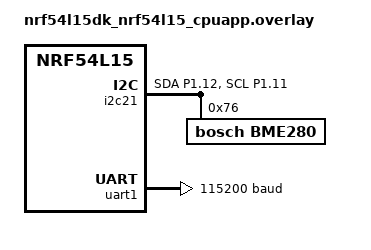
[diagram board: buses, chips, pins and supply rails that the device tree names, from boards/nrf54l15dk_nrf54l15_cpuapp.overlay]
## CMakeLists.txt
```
# nrf54_brain/CMakeLists.txt
cmake_minimum_required(VERSION 3.20.0)

find_package(Zephyr REQUIRED HINTS $ENV{ZEPHYR_BASE})
project(remote_id_brain)

# Dodanie folderów include
target_include_directories(app PRIVATE 
    ${CMAKE_CURRENT_SOURCE_DIR}/src 
    ${CMAKE_CURRENT_SOURCE_DIR}/../common/include
)

# Integracja Edge Impulse (ml_model) [5, 6]
# Pamiętaj o dodaniu wyeksportowanej biblioteki EI do projektu
add_subdirectory(ml_model)
target_link_libraries(app PUBLIC ei_model)

# Dodanie plików źródłowych
target_sources(app PRIVATE
    src/main.cpp
    src/data_aggregator.cpp
    src/ui_manager.cpp
)
```

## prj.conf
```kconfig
# nrf54_brain/prj.conf
CONFIG_CPLUSPLUS=y
CONFIG_STD_CPP17=y
CONFIG_NEWLIB_LIBC=y

# Komunikacja z nRF7002 przez UART
CONFIG_SERIAL=y
CONFIG_UART_ASYNC_API=y
CONFIG_UART_1_NRF_UARTE=y

# Sensory i I2C (BME280)
CONFIG_I2C=y
CONFIG_SENSOR=y
CONFIG_BME280=y

# AI i ML (Edge Impulse / TensorFlow Lite)
CONFIG_EDGE_IMPULSE=y
CONFIG_FPU=y

# Bluetooth 6.0 i Channel Sounding (do precyzyjnej odległości) [1, 2]
CONFIG_BT=y
CONFIG_BT_DEVICE_NAME="RemoteID_Brain"
CONFIG_BT_CHANNEL_SOUNDING=y

# UI i ADC (Joystick, TEMT6000)
CONFIG_ADC=y
CONFIG_SPI=y
```

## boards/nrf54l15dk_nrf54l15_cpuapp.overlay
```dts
&pinctrl {
    i2c21_default: i2c21_default {
        group1 {
            psels = <NRF_PSEL(TWIM_SDA, 1, 12)>,
                    <NRF_PSEL(TWIM_SCL, 1, 11)>; // P1.11 to dedykowany Clock Pin
        }
    };
};

&i2c21 {
    status = "okay";
    pinctrl-0 = <&i2c21_default>;
    pinctrl-names = "default";
    bme280@76 {
        compatible = "bosch,bme280";
        reg = <0x76>;
    };
};

&uart1 {
    status = "okay";
    current-speed = <115200>;
    pinctrl-0 = <&uart1_default>; // Skonfiguruj TX/RX na P1.04/P1.05
};
```

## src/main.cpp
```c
/* nrf54_brain/src/main.cpp */
#include <zephyr/kernel.h>
#include <zephyr/device.h>
#include <zephyr/drivers/sensor.h>
#include "ai_engine.hpp"
#include "bme280_handler.hpp"
#include "ui_manager.hpp"
#include "drone_id_types.hpp"

// Deklaracja funkcji pobierającej dane, zdefiniowanej w data_aggregator.cpp
extern int data_aggregator_get_next(DroneDiscoveryData *data);

void main(void) {
    const struct device *const bme_dev = DEVICE_DT_GET_ANY(bosch_bme280);
    AiEngine ai;
    UiManager ui;

    // Startowy komunikat diagnostyczny
    printk("Remote ID Brain started on nRF54L15\n");

    while (1) {
        struct sensor_value temp, press, hum;
        
        // Pobieranie danych pogodowych dla korekcji RSSI [1, 2]
        sensor_sample_fetch(bme_dev);
        sensor_channel_get(bme_dev, SENSOR_CHAN_AMBIENT_TEMP, &temp);
        sensor_channel_get(bme_dev, SENSOR_CHAN_HUMIDITY, &hum);

        // Odbiór danych Remote ID przesłanych z płytki nRF7002
        DroneDiscoveryData drone;
        if (data_aggregator_get_next(&drone) == 0) {
            // Wnioskowanie AI: RSSI + Temperatura + Wilgotność -> Estymowana odległość [3, 4]
            float est_distance = ai.predict_distance(drone.rssi, (float)temp.val1, (float)hum.val1);
            
            // --- AKTUALIZACJA DLA GATEWAYA ---
            // Wysyłamy dane w formacie JSON, który skrypt Python rozpozna i prześle do panelu.
            // Wykorzystujemy pola zdekodowane przez bibliotekę opendroneid-core-c.
            printk("{\"drone_id\": \"%s\", \"rssi\": %d, \"dist\": %.2f, \"lat\": %d, \"lon\": %d}\n", 
                   drone.serial_number, drone.rssi, est_distance, drone.latitude, drone.longitude);
            
            // Lokalna wizualizacja na wyświetlaczu HC595
            ui.update_display(est_distance, drone.protocol_type);
            
            if (est_distance < 10.0f) {
                ui.alert_proximity();
            }
        }
        
        // Krótkie uśpienie, aby nie blokować procesora [6]
        k_msleep(100);
    }
}
```

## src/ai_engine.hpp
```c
/* nrf54_brain/src/ai_engine.hpp */
#ifndef AI_ENGINE_HPP
#define AI_ENGINE_HPP

#include <edge-impulse-sdk/classifier/ei_run_classifier.h>

class AiEngine {
public:
    AiEngine() { /* Inicjalizacja ewentualnych buforów */ }

    /**
     * @brief Przewiduje odległość drona na podstawie siły sygnału i parametrów pogodowych.
     * @param rssi Siła sygnału w dBm
     * @param temp Temperatura z BME280
     * @param hum Wilgotność z BME280
     */
    float predict_distance(int8_t rssi, float temp, float hum) {
        // Przygotowanie danych wejściowych (zgodnie z kolejnością w Edge Impulse)
        float features = { (float)rssi, temp, hum };
        
        signal_t signal;
        numpy::signal_from_buffer(features, sizeof(features) / sizeof(features), &signal);

        ei_impulse_result_t result = { 0 };
        EI_IMPULSE_ERROR err = run_classifier(&signal, &result, false);

        if (err!= EI_IMPULSE_OK) {
            return -1.0f;
        }

        // Jeśli używasz modelu regresji, wynik jest w result.classification.value
        return result.classification.value;
    }
};

#endif
```

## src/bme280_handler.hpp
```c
#ifndef BME280_HANDLER_HPP
#define BME280_HANDLER_HPP

#include <zephyr/drivers/sensor.h>

class BmeHandler {
public:
    struct EnvData {
        float temperature;
        float humidity;
        float pressure;
    };

    EnvData get_reading(const struct device *dev) {
        struct sensor_value t, h, p;
        sensor_sample_fetch(dev);
        sensor_channel_get(dev, SENSOR_CHAN_AMBIENT_TEMP, &t);
        sensor_channel_get(dev, SENSOR_CHAN_HUMIDITY, &h);
        sensor_channel_get(dev, SENSOR_CHAN_PRESS, &p);
        return {(float)sensor_value_to_double(&t), (float)sensor_value_to_double(&h), (float)sensor_value_to_double(&p)};
    }
};

#endif
```

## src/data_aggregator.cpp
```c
/* nrf54_brain/src/data_aggregator.cpp */
#include <zephyr/kernel.h>
#include <zephyr/drivers/uart.h>
#include "drone_id_types.hpp"
#include "inter_board_protocol.h"

K_MSGQ_DEFINE(drone_msgq, sizeof(DroneDiscoveryData), 10, 4);
static const struct device *uart_dev = DEVICE_DT_GET(DT_NODELABEL(uart1));

// Prosta maszyna stanów do parsowania protokołu z common/
void uart_callback(const struct device *dev, struct uart_event *evt, void *user_data) {
    static DroneDiscoveryData rx_buf;
    static IpcHeader header;
    // Tutaj implementacja odbierania bajt po bajcie zgodnie z inter_board_protocol.h
    // Po odebraniu pełnej ramki:
    k_msgq_put(&drone_msgq, &rx_buf, K_NO_WAIT);
}

int data_aggregator_get_next(DroneDiscoveryData *data) {
    return k_msgq_get(&drone_msgq, data, K_NO_WAIT);
}
```

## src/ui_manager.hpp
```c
/* nrf54_brain/src/ui_manager.cpp */
#include <zephyr/drivers/gpio.h>
#include <zephyr/drivers/spi.h>
#include "ui_manager.hpp"

// Tabela kodów dla wyświetlacza 7-segmentowego (0-9) przez 74HC595
static const uint8_t seg_codes = {0x3F, 0x06, 0x5B, 0x4F, 0x66, 0x6D, 0x7D, 0x07, 0x7F, 0x6F};

void UiManager::update_display(float distance, uint8_t protocol) {
    uint8_t d = (uint8_t)distance % 10;
    struct spi_buf buf = {.buf = (void *)&seg_codes[d],.len = 1 };
    struct spi_buf_set tx = {.buffers = &buf,.count = 1 };
    
    // Wysyłanie danych do 74HC595 przez SPI [3, 4]
    spi_write_dt(&spi_spec, &tx);
}

void UiManager::alert_proximity() {
    // Zapalenie czerwonej diody LED (P2.09 na nRF54L15-DK) 
    gpio_pin_set_dt(&led_red, 1);
}
```
